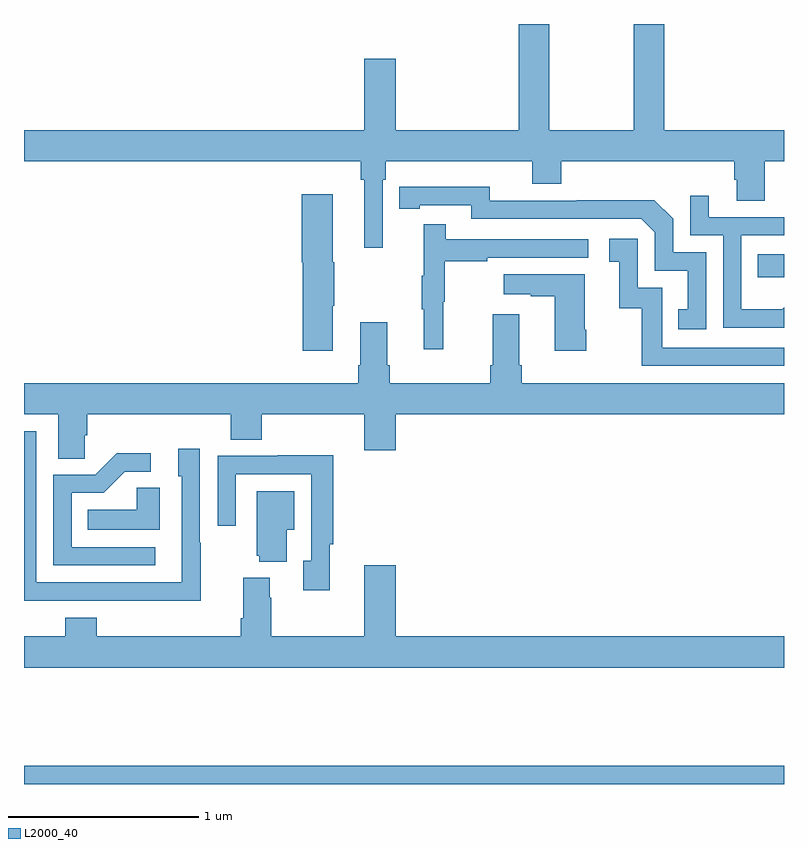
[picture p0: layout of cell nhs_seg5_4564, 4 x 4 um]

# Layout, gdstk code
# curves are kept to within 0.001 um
import gdstk
lib = gdstk.Library(unit=1e-6, precision=1e-09)
def R(c, l, rs):  # rectangles x0, y0, x1, y1
    for r in rs: c.add(gdstk.rectangle(r[:2], r[2:], *l))
def P(c, l, *ps):  # polygons
    for p in ps: c.add(gdstk.Polygon(p, *l))
L2000_40 = (2000, 40)

nhs_seg5_4564 = lib.new_cell('nhs_seg5_4564')
R(nhs_seg5_4564, L2000_40, [(379,870.799,383,870.896), (382.861,873.465,383,873.588)])
P(nhs_seg5_4564, L2000_40, [(382.37,874.799),(382.21,874.799),(382.21,874.24),(381.765,874.24),(381.765,874.799),(381.605,874.799),(381.605,874.24),(380.956,874.24),(380.956,874.615),(380.792,874.615),(380.792,874.24),(379,874.24),(379,874.076),(380.773,874.076),(380.773,873.98),(380.792,873.98),(380.792,873.621),(380.889,873.621),(380.889,873.98),(380.903,873.98),(380.903,874.076),(381.674,874.076),(381.674,873.959),(381.827,873.959),(381.827,874.076),(382.739,874.076),(382.739,873.978),(382.751,873.978),(382.751,873.868),(382.899,873.868),(382.899,874.076),(383,874.076),(383,874.24),(382.37,874.24)],
  [(382.59,873.597),(382.416,873.597),(382.416,873.774),(382.318,873.872),(381.91,873.872),(381.91,873.87),(381.45,873.87),(381.45,873.943),(380.974,873.942),(380.974,873.826),(381.082,873.826),(381.082,873.846),(381.354,873.846),(381.354,873.774),(382.248,873.774),(382.32,873.702),(382.32,873.501),(382.493,873.501),(382.493,873.297),(382.444,873.297),(382.444,873.192),(382.59,873.192)],
  [(380.626,873.316),(380.634,873.316),(380.634,873.546),(380.626,873.546),(380.626,873.904),(380.462,873.904),(380.462,873.546),(380.468,873.546),(380.468,873.078),(380.626,873.078)],
  [(383,873.308),(382.99,873.298),(382.776,873.298),(382.776,873.687),(383,873.687),(383,873.783),(382.603,873.783),(382.603,873.895),(382.506,873.895),(382.506,873.687),(382.68,873.687),(382.68,873.201),(383,873.201)],
  [(381.206,873.336),(381.214,873.336),(381.214,873.55),(381.437,873.55),(381.437,873.57),(381.97,873.57),(381.97,873.666),(381.221,873.666),(381.221,873.745),(381.104,873.745),(381.104,873.473),(381.093,873.473),(381.093,873.299),(381.104,873.299),(381.104,873.087),(381.206,873.087)],
  [(383,873.096),(382.359,873.096),(382.359,873.411),(382.23,873.411),(382.23,873.67),(382.08,873.67),(382.08,873.549),(382.133,873.549),(382.133,873.303),(382.251,873.303),(382.251,873),(383,873)],
  [(381.96,873.19),(381.952,873.19),(381.952,873.481),(381.525,873.481),(381.525,873.377),(381.668,873.377),(381.668,873.367),(381.794,873.367),(381.794,873.078),(381.96,873.078)],
  [(379.32,872.635),(379.334,872.635),(379.334,872.744),(380.087,872.744),(380.087,872.611),(380.252,872.611),(380.252,872.744),(380.792,872.744),(380.792,872.556),(380.956,872.556),(380.956,872.744),(383,872.744),(383,872.908),(381.62,872.908),(381.62,873.004),(381.607,873.004),(381.607,873.271),(381.467,873.271),(381.467,873.004),(381.455,873.004),(381.455,872.908),(380.924,872.908),(380.924,873.004),(380.911,873.004),(380.911,873.229),(380.771,873.229),(380.771,873.004),(380.759,873.004),(380.759,872.908),(379,872.908),(379,872.744),(379.181,872.744),(379.181,872.512),(379.32,872.512)],
  [(379.929,872.069),(379.926,872.069),(379.926,872.563),(379.811,872.563),(379.811,872.418),(379.83,872.418),(379.83,871.86),(379.065,871.86),(379.065,872.655),(379,872.655),(379,871.764),(379.465,871.764),(379.465,871.763),(379.929,871.763)],
  [(379.69,872.046),(379.251,872.046),(379.251,872.331),(379.42,872.331),(379.531,872.442),(379.666,872.442),(379.666,872.54),(379.487,872.54),(379.374,872.427),(379.155,872.427),(379.155,871.95),(379.69,871.95)],
  [(380.609,872.062),(380.627,872.062),(380.627,872.528),(380.335,872.528),(380.335,872.526),(380.019,872.526),(380.019,872.157),(380.115,872.157),(380.115,872.43),(380.511,872.43),(380.511,871.974),(380.471,871.974),(380.471,871.818),(380.609,871.818)],
  [(379.714,872.357),(379.593,872.357),(379.593,872.242),(379.336,872.242),(379.336,872.138),(379.714,872.138)],
  [(380.383,872.138),(380.422,872.138),(380.422,872.341),(380.225,872.341),(380.225,872.001),(380.237,872.001),(380.237,871.97),(380.383,871.97)],
  [(383,871.576),(380.956,871.576),(380.956,871.951),(380.792,871.951),(380.792,871.576),(380.301,871.576),(380.301,871.778),(380.293,871.778),(380.293,871.885),(380.153,871.885),(380.153,871.672),(380.141,871.672),(380.141,871.576),(379.382,871.576),(379.382,871.675),(379.217,871.675),(379.217,871.576),(379,871.576),(379,871.412),(383,871.412)])

lib.write_gds('nhs_seg5_4564.gds')
